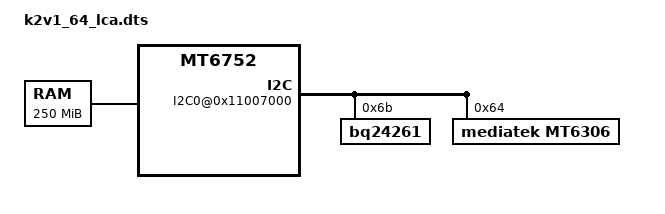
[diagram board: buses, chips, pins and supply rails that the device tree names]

/dts-v1/;

/include/ "mt6752.dtsi"

/ {
	memory@00000000 {
		device_type = "memory";
		reg = <0 0x40000000 0 0xFA00000>;
	};

	bus {
		compatible = "simple-bus";
		#address-cells = <1>;
		#size-cells = <1>;
		ranges = <0 0 0 0xffffffff>;

		I2C0@0x11007000 {
			bq24261@6b {
				compatible = "bq24261";
				reg = <0x6b>;
			};

			mt6306@64 {
				compatible = "mediatek,mt6306";
				reg = <0x64>;
			};
		};
	};
    TOUCH@0 {
    	compatible = "mediatek,TPD";
		eint-gpio = <139 1>;
		rst-gpio = <144 1>;
		interrupts = <139 2>;
    };

	mt-extmem@0 {
		compatible = "mediatek,mt-extmem";
	};
	reserved-memory {
#address-cells = <2>;
#size-cells = <2>;
		ranges;

		reserve-memory-ccci_md1 {
			compatible = "reserve-memory-ccci_md1";
			no-map;
			size = <0 0x3A00000>;
			alignment = <0 0x2000000>;
			alloc-ranges = <0 0x40000000 0 0xC0000000>;
		};
	};

};
